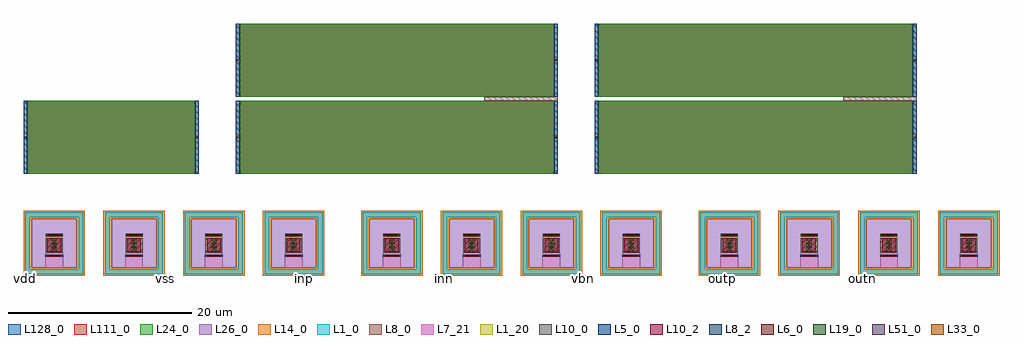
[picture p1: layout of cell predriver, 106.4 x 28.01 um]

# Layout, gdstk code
import gdstk
lib = gdstk.Library(unit=1e-6, precision=1e-09)
def R(c, l, rs):  # rectangles x0, y0, x1, y1
    for r in rs: c.add(gdstk.rectangle(r[:2], r[2:], *l))
def A(c, l, x, y, w, h, nx, ny, dx, dy):  # array of equal rectangles
    R(c, l, [(x+i*dx, y+j*dy, x+i*dx+w, y+j*dy+h) for i in range(nx) for j in range(ny)])
def P(c, l, *ps):  # polygons
    for p in ps: c.add(gdstk.Polygon(p, *l))
L1_0 = (1, 0)
L1_20 = (1, 20)
L5_0 = (5, 0)
L6_0 = (6, 0)
L7_21 = (7, 21)
L8_0 = (8, 0)
L8_2 = (8, 2)
L10_0 = (10, 0)
L10_2 = (10, 2)
L14_0 = (14, 0)
L19_0 = (19, 0)
L24_0 = (24, 0)
L26_0 = (26, 0)
L33_0 = (33, 0)
L51_0 = (51, 0)
L111_0 = (111, 0)
L128_0 = (128, 0)

npn13g2_base_cdns_675179 = lib.new_cell('npn13G2_base_CDNS_675179387640$4')
R(npn13g2_base_cdns_675179, L1_0, [(-0.925,-1.28,0.925,-0.98)])
P(npn13g2_base_cdns_675179, L1_20, [(-0.925,-0.98),(-0.925,0.62),(-0.445,0.62),(-0.235,0.83),(0.235,0.83),(0.445,0.62),(0.925,0.62),(0.925,-0.98)])
R(npn13g2_base_cdns_675179, L6_0, [(-0.825,-1.21,0.825,-1.05), (-0.76,1.06,0.76,1.22)])
P(npn13g2_base_cdns_675179, L7_21, [(-0.305,-0.94),(-0.555,-0.69),(-0.555,0.48),(-0.975,0.9),(-0.975,2.43),(0.975,2.43),(0.975,0.9),(0.555,0.48),(0.555,-0.69),(0.305,-0.94)])
R(npn13g2_base_cdns_675179, L8_0, [(-0.925,-1.25,0.925,-1.01), (-0.35,-0.77,0.35,0.785), (-0.975,1.02,0.975,1.26)])
R(npn13g2_base_cdns_675179, L10_0, [(-0.925,-0.77,0.925,0.785)])
A(npn13g2_base_cdns_675179, L19_0, -0.3, -0.7, 0.19, 0.19, 1, 4, 0, 0.41)
A(npn13g2_base_cdns_675179, L19_0, 0.11, -0.7, 0.19, 0.19, 1, 4, 0, 0.41)
R(npn13g2_base_cdns_675179, L33_0, [(-0.035,-0.45,0.035,0.45), (-0.035,-0.45,0.035,0.45)])
R(npn13g2_base_cdns_675179, L51_0, [(-0.085,-0.5,0.085,0.5)])
npn13g2_base_cdns_675179.add(gdstk.Label('npn13G2', (0.015,-2.31), layer=63, texttype=0))
npn13g2_base_cdns_675179.add(gdstk.Label('npn13G2_base', (0,0), layer=51, texttype=0))

npn13g2_4 = lib.new_cell('npn13G2$4')
P(npn13g2_4, L1_0, [(-3.15,-3.13),(-3.15,3.58),(2.65,3.58),(2.65,3.08),(-2.65,3.08),(-2.65,-2.63),(2.65,-2.63),(2.65,3.58),(3.15,3.58),(3.15,-3.13)])
R(npn13g2_4, L8_2, [(-0.965,-1.26,0.975,-1.02), (-0.915,1.01,0.925,1.25)])
R(npn13g2_4, L10_2, [(-0.745,-0.78,0.745,0.77)])
P(npn13g2_4, L14_0, [(-3.35,-3.33),(-3.35,3.78),(2.45,3.78),(2.45,2.88),(-2.45,2.88),(-2.45,-2.43),(2.45,-2.43),(2.45,3.78),(3.35,3.78),(3.35,-3.33)])
R(npn13g2_4, L26_0, [(-2.45,-2.43,2.45,2.88)])
npn13g2_4.add(gdstk.Reference(npn13g2_base_cdns_675179, (0,0), x_reflection=True))
npn13g2_4.add(gdstk.Label('Ae=1*1*0.07*0.90', (-1.977,-2.546), layer=63, texttype=0))
npn13g2_4.add(gdstk.Label('E', (0,-0.005), layer=63, texttype=0))
npn13g2_4.add(gdstk.Label('B', (0.005,-1.14), layer=63, texttype=0))
npn13g2_4.add(gdstk.Label('C', (0.005,1.13), layer=63, texttype=0))

predriver_xq1 = lib.new_cell('predriver_XQ1')
predriver_xq1.add(gdstk.Reference(npn13g2_4, (3.35,3.33)))
predriver_xq1.add(gdstk.Reference(npn13g2_4, (12.05,3.33)))
predriver_xq1.add(gdstk.Reference(npn13g2_4, (20.75,3.33)))
predriver_xq1.add(gdstk.Reference(npn13g2_4, (29.45,3.33)))

c_npn13g2_base_cdns_675179 = lib.new_cell('npn13G2_base_CDNS_675179387640$1$2')
R(c_npn13g2_base_cdns_675179, L1_0, [(-0.925,-1.28,0.925,-0.98)])
P(c_npn13g2_base_cdns_675179, L1_20, [(-0.925,-0.98),(-0.925,0.62),(-0.445,0.62),(-0.235,0.83),(0.235,0.83),(0.445,0.62),(0.925,0.62),(0.925,-0.98)])
R(c_npn13g2_base_cdns_675179, L6_0, [(-0.825,-1.21,0.825,-1.05), (-0.76,1.06,0.76,1.22)])
P(c_npn13g2_base_cdns_675179, L7_21, [(-0.305,-0.94),(-0.555,-0.69),(-0.555,0.48),(-0.975,0.9),(-0.975,2.43),(0.975,2.43),(0.975,0.9),(0.555,0.48),(0.555,-0.69),(0.305,-0.94)])
R(c_npn13g2_base_cdns_675179, L8_0, [(-0.925,-1.25,0.925,-1.01), (-0.35,-0.77,0.35,0.785), (-0.975,1.02,0.975,1.26)])
R(c_npn13g2_base_cdns_675179, L10_0, [(-0.925,-0.77,0.925,0.785)])
A(c_npn13g2_base_cdns_675179, L19_0, -0.3, -0.7, 0.19, 0.19, 1, 4, 0, 0.41)
A(c_npn13g2_base_cdns_675179, L19_0, 0.11, -0.7, 0.19, 0.19, 1, 4, 0, 0.41)
R(c_npn13g2_base_cdns_675179, L33_0, [(-0.035,-0.45,0.035,0.45), (-0.035,-0.45,0.035,0.45)])
R(c_npn13g2_base_cdns_675179, L51_0, [(-0.085,-0.5,0.085,0.5)])
c_npn13g2_base_cdns_675179.add(gdstk.Label('npn13G2', (0.015,-2.31), layer=63, texttype=0))
c_npn13g2_base_cdns_675179.add(gdstk.Label('npn13G2_base', (0,0), layer=51, texttype=0))

npn13g2_1_2 = lib.new_cell('npn13G2$1$2')
P(npn13g2_1_2, L1_0, [(-3.15,-3.13),(-3.15,3.58),(2.65,3.58),(2.65,3.08),(-2.65,3.08),(-2.65,-2.63),(2.65,-2.63),(2.65,3.58),(3.15,3.58),(3.15,-3.13)])
R(npn13g2_1_2, L8_2, [(-0.965,-1.26,0.975,-1.02), (-0.915,1.01,0.925,1.25)])
R(npn13g2_1_2, L10_2, [(-0.745,-0.78,0.745,0.77)])
P(npn13g2_1_2, L14_0, [(-3.35,-3.33),(-3.35,3.78),(2.45,3.78),(2.45,2.88),(-2.45,2.88),(-2.45,-2.43),(2.45,-2.43),(2.45,3.78),(3.35,3.78),(3.35,-3.33)])
R(npn13g2_1_2, L26_0, [(-2.45,-2.43,2.45,2.88)])
npn13g2_1_2.add(gdstk.Reference(c_npn13g2_base_cdns_675179, (0,0), x_reflection=True))
npn13g2_1_2.add(gdstk.Label('Ae=1*1*0.07*0.90', (-1.977,-2.546), layer=63, texttype=0))
npn13g2_1_2.add(gdstk.Label('E', (0,-0.005), layer=63, texttype=0))
npn13g2_1_2.add(gdstk.Label('B', (0.005,-1.14), layer=63, texttype=0))
npn13g2_1_2.add(gdstk.Label('C', (0.005,1.13), layer=63, texttype=0))

predriver_xq2 = lib.new_cell('predriver_XQ2')
predriver_xq2.add(gdstk.Reference(npn13g2_1_2, (3.35,3.33)))
predriver_xq2.add(gdstk.Reference(npn13g2_1_2, (12.05,3.33)))
predriver_xq2.add(gdstk.Reference(npn13g2_1_2, (20.75,3.33)))
predriver_xq2.add(gdstk.Reference(npn13g2_1_2, (29.45,3.33)))

c_npn13g2_base_cdns_675179_ = lib.new_cell('npn13G2_base_CDNS_675179387640$2$1')
R(c_npn13g2_base_cdns_675179_, L1_0, [(-0.925,-1.28,0.925,-0.98)])
P(c_npn13g2_base_cdns_675179_, L1_20, [(-0.925,-0.98),(-0.925,0.62),(-0.445,0.62),(-0.235,0.83),(0.235,0.83),(0.445,0.62),(0.925,0.62),(0.925,-0.98)])
R(c_npn13g2_base_cdns_675179_, L6_0, [(-0.825,-1.21,0.825,-1.05), (-0.76,1.06,0.76,1.22)])
P(c_npn13g2_base_cdns_675179_, L7_21, [(-0.305,-0.94),(-0.555,-0.69),(-0.555,0.48),(-0.975,0.9),(-0.975,2.43),(0.975,2.43),(0.975,0.9),(0.555,0.48),(0.555,-0.69),(0.305,-0.94)])
R(c_npn13g2_base_cdns_675179_, L8_0, [(-0.925,-1.25,0.925,-1.01), (-0.35,-0.77,0.35,0.785), (-0.975,1.02,0.975,1.26)])
R(c_npn13g2_base_cdns_675179_, L10_0, [(-0.925,-0.77,0.925,0.785)])
A(c_npn13g2_base_cdns_675179_, L19_0, -0.3, -0.7, 0.19, 0.19, 1, 4, 0, 0.41)
A(c_npn13g2_base_cdns_675179_, L19_0, 0.11, -0.7, 0.19, 0.19, 1, 4, 0, 0.41)
R(c_npn13g2_base_cdns_675179_, L33_0, [(-0.035,-0.45,0.035,0.45), (-0.035,-0.45,0.035,0.45)])
R(c_npn13g2_base_cdns_675179_, L51_0, [(-0.085,-0.5,0.085,0.5)])
c_npn13g2_base_cdns_675179_.add(gdstk.Label('npn13G2', (0.015,-2.31), layer=63, texttype=0))
c_npn13g2_base_cdns_675179_.add(gdstk.Label('npn13G2_base', (0,0), layer=51, texttype=0))

npn13g2_2_1 = lib.new_cell('npn13G2$2$1')
P(npn13g2_2_1, L1_0, [(-3.15,-3.13),(-3.15,3.58),(2.65,3.58),(2.65,3.08),(-2.65,3.08),(-2.65,-2.63),(2.65,-2.63),(2.65,3.58),(3.15,3.58),(3.15,-3.13)])
R(npn13g2_2_1, L8_2, [(-0.965,-1.26,0.975,-1.02), (-0.915,1.01,0.925,1.25)])
R(npn13g2_2_1, L10_2, [(-0.745,-0.78,0.745,0.77)])
P(npn13g2_2_1, L14_0, [(-3.35,-3.33),(-3.35,3.78),(2.45,3.78),(2.45,2.88),(-2.45,2.88),(-2.45,-2.43),(2.45,-2.43),(2.45,3.78),(3.35,3.78),(3.35,-3.33)])
R(npn13g2_2_1, L26_0, [(-2.45,-2.43,2.45,2.88)])
npn13g2_2_1.add(gdstk.Reference(c_npn13g2_base_cdns_675179_, (0,0), x_reflection=True))
npn13g2_2_1.add(gdstk.Label('Ae=1*1*0.07*0.90', (-1.977,-2.546), layer=63, texttype=0))
npn13g2_2_1.add(gdstk.Label('E', (0,-0.005), layer=63, texttype=0))
npn13g2_2_1.add(gdstk.Label('B', (0.005,-1.14), layer=63, texttype=0))
npn13g2_2_1.add(gdstk.Label('C', (0.005,1.13), layer=63, texttype=0))

predriver_xqt = lib.new_cell('predriver_XQt')
predriver_xqt.add(gdstk.Reference(npn13g2_2_1, (3.35,3.33)))
predriver_xqt.add(gdstk.Reference(npn13g2_2_1, (12.05,3.33)))
predriver_xqt.add(gdstk.Reference(npn13g2_2_1, (20.75,3.33)))
predriver_xqt.add(gdstk.Reference(npn13g2_2_1, (29.45,3.33)))

predriver_xre__core = lib.new_cell('predriver_XRe__core')
R(predriver_xre__core, L5_0, [(0,0,0.42,8), (18.71,0,19.13,8)])
R(predriver_xre__core, L6_0, [(0.13,3.92,0.29,4.08), (18.84,3.92,19,4.08)])
R(predriver_xre__core, L8_0, [(0,0,0.42,8), (18.71,0,19.13,8)])
R(predriver_xre__core, L24_0, [(0.42,0,18.71,8)])
R(predriver_xre__core, L111_0, [(0.42,0,18.71,8)])
R(predriver_xre__core, L128_0, [(0.42,0,18.71,8)])

predriver_xre = lib.new_cell('predriver_XRe')
predriver_xre.add(gdstk.Reference(predriver_xre__core, (0,0)))

predriver_xrl1__core = lib.new_cell('predriver_XRL1__core')
R(predriver_xrl1__core, L5_0, [(0,0,0.42,8), (34.705,0,35.125,8), (0,8.4,0.42,16.4), (34.705,8.4,35.125,16.4)])
R(predriver_xrl1__core, L6_0, [(0.13,3.92,0.29,4.08), (34.835,3.92,34.995,4.08), (0.13,12.32,0.29,12.48), (34.835,12.32,34.995,12.48)])
R(predriver_xrl1__core, L8_0, [(0,0,0.42,8), (34.705,0,35.125,8), (27.125,8,35.125,8.4), (0,8.4,0.42,16.4), (34.705,8.4,35.125,16.4)])
R(predriver_xrl1__core, L24_0, [(0.42,0,34.705,8), (0.42,8.4,34.705,16.4)])
R(predriver_xrl1__core, L111_0, [(0.42,0,34.705,8), (0.42,8.4,34.705,16.4)])
R(predriver_xrl1__core, L128_0, [(0.42,0,34.705,8), (0.42,8.4,34.705,16.4)])

predriver_xrl1 = lib.new_cell('predriver_XRL1')
predriver_xrl1.add(gdstk.Reference(predriver_xrl1__core, (0,0)))

predriver_xrl2__core = lib.new_cell('predriver_XRL2__core')
R(predriver_xrl2__core, L5_0, [(0,0,0.42,8), (34.705,0,35.125,8), (0,8.4,0.42,16.4), (34.705,8.4,35.125,16.4)])
R(predriver_xrl2__core, L6_0, [(0.13,3.92,0.29,4.08), (34.835,3.92,34.995,4.08), (0.13,12.32,0.29,12.48), (34.835,12.32,34.995,12.48)])
R(predriver_xrl2__core, L8_0, [(0,0,0.42,8), (34.705,0,35.125,8), (27.125,8,35.125,8.4), (0,8.4,0.42,16.4), (34.705,8.4,35.125,16.4)])
R(predriver_xrl2__core, L24_0, [(0.42,0,34.705,8), (0.42,8.4,34.705,16.4)])
R(predriver_xrl2__core, L111_0, [(0.42,0,34.705,8), (0.42,8.4,34.705,16.4)])
R(predriver_xrl2__core, L128_0, [(0.42,0,34.705,8), (0.42,8.4,34.705,16.4)])

predriver_xrl2 = lib.new_cell('predriver_XRL2')
predriver_xrl2.add(gdstk.Reference(predriver_xrl2__core, (0,0)))

predriver = lib.new_cell('predriver')
A(predriver, L10_0, 0, -0.5, 0.5, 0.5, 7, 1, 15.2, 0)
A(predriver, L10_2, 0, -0.5, 0.5, 0.5, 7, 1, 15.2, 0)
predriver.add(gdstk.Reference(predriver_xq1, (0,0)))
predriver.add(gdstk.Reference(predriver_xq2, (36.8,0)))
predriver.add(gdstk.Reference(predriver_xqt, (73.6,0)))
predriver.add(gdstk.Reference(predriver_xre, (0,11.11)))
predriver.add(gdstk.Reference(predriver_xrl1, (23.13,11.11)))
predriver.add(gdstk.Reference(predriver_xrl2, (62.255,11.11)))
predriver.add(gdstk.Label('vdd', (0.25,-0.25), layer=10, texttype=25))
predriver.add(gdstk.Label('vss', (15.45,-0.25), layer=10, texttype=25))
predriver.add(gdstk.Label('inp', (30.65,-0.25), layer=10, texttype=25))
predriver.add(gdstk.Label('inn', (45.85,-0.25), layer=10, texttype=25))
predriver.add(gdstk.Label('vbn', (61.05,-0.25), layer=10, texttype=25))
predriver.add(gdstk.Label('outp', (76.25,-0.25), layer=10, texttype=25))
predriver.add(gdstk.Label('outn', (91.45,-0.25), layer=10, texttype=25))

lib.write_gds('predriver.gds')
